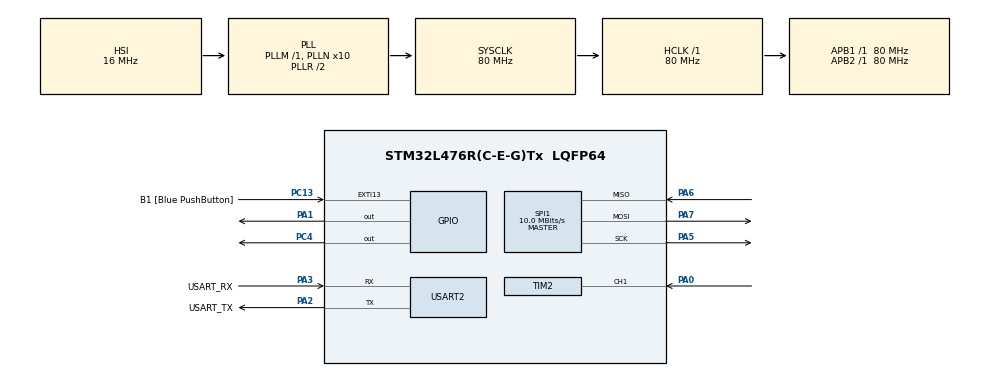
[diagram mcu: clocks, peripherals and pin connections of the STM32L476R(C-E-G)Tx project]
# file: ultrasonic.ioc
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FATFS._MAX_SS=4096
FATFS._USE_LFN=1
Mcu.Family=STM32L4
Mcu.Name=STM32L476R(C-E-G)Tx
Mcu.Package=LQFP64
NVIC.PriorityGroup=NVIC_PRIORITYGROUP_4
NVIC.TIM2_IRQn=true\:0\:0\:false\:false\:true\:true\:true\:true
PA0.Signal=S_TIM2_CH1
PA1.Signal=GPIO_Output
PA13\ (JTMS-SWDIO).GPIO_Label=TMS
PA13\ (JTMS-SWDIO).Mode=Serial_Wire
PA13\ (JTMS-SWDIO).Signal=SYS_JTMS-SWDIO
PA14\ (JTCK-SWCLK).GPIO_Label=TCK
PA14\ (JTCK-SWCLK).Mode=Serial_Wire
PA14\ (JTCK-SWCLK).Signal=SYS_JTCK-SWCLK
PA2.GPIO_Label=USART_TX
PA2.GPIO_Mode=GPIO_MODE_AF_PP
PA2.GPIO_PuPd=GPIO_NOPULL
PA2.GPIO_Speed=GPIO_SPEED_FREQ_VERY_HIGH
PA2.Mode=Asynchronous
PA2.Signal=USART2_TX
PA3.GPIO_Label=USART_RX
PA3.GPIO_Mode=GPIO_MODE_AF_PP
PA3.GPIO_PuPd=GPIO_NOPULL
PA3.GPIO_Speed=GPIO_SPEED_FREQ_VERY_HIGH
PA3.Mode=Asynchronous
PA3.Signal=USART2_RX
PA5.Mode=Full_Duplex_Master
PA5.Signal=SPI1_SCK
PA6.Mode=Full_Duplex_Master
PA6.Signal=SPI1_MISO
PA7.Mode=Full_Duplex_Master
PA7.Signal=SPI1_MOSI
PB3\ (JTDO-TRACESWO).GPIO_Label=SWO
PB3\ (JTDO-TRACESWO).Signal=SYS_JTDO-SWO
PC13.GPIO_Label=B1 [Blue PushButton]
PC13.GPIO_ModeDefaultEXTI=GPIO_MODE_IT_FALLING
PC13.GPIO_PuPd=GPIO_NOPULL
PC13.Signal=GPXTI13
PC14-OSC32_IN\ (PC14).Mode=LSE-External-Oscillator
PC14-OSC32_IN\ (PC14).Signal=RCC_OSC32_IN
PC15-OSC32_OUT\ (PC15).Mode=LSE-External-Oscillator
PC15-OSC32_OUT\ (PC15).Signal=RCC_OSC32_OUT
PC4.Signal=GPIO_Output
PH0-OSC_IN\ (PH0).Signal=RCC_OSC_IN
PH1-OSC_OUT\ (PH1).Signal=RCC_OSC_OUT
ProjectManager.HeapSize=0x200
ProjectManager.StackSize=0x400
ProjectManager.TargetToolchain=STM32CubeIDE
RCC.ADCFreq_Value=64000000
RCC.AHBFreq_Value=80000000
RCC.APB1Freq_Value=80000000
RCC.APB1TimFreq_Value=80000000
RCC.APB2Freq_Value=80000000
RCC.APB2TimFreq_Value=80000000
RCC.CortexFreq_Value=80000000
RCC.HCLKFreq_Value=80000000
RCC.HSE_VALUE=8000000
RCC.HSI_VALUE=16000000
RCC.MSI_VALUE=4000000
RCC.PLLN=10
RCC.PLLSourceVirtual=RCC_PLLSOURCE_HSI
RCC.PREFETCH_ENABLE=1
RCC.SYSCLKFreq_VALUE=80000000
RCC.SYSCLKSource=RCC_SYSCLKSOURCE_PLLCLK
RCC.USBFreq_Value=64000000
RCC.VCOOutputFreq_Value=160000000
SH.S_TIM2_CH1.0=TIM2_CH1,Input_Capture1_from_TI1
SPI1.BaudRatePrescaler=SPI_BAUDRATEPRESCALER_8
SPI1.CalculateBaudRate=10.0 MBits/s
SPI1.DataSize=SPI_DATASIZE_8BIT
SPI1.Direction=SPI_DIRECTION_2LINES
SPI1.Mode=SPI_MODE_MASTER
SPI1.VirtualType=VM_MASTER
TIM2.AutoReloadPreload=TIM_AUTORELOAD_PRELOAD_ENABLE
TIM2.Channel-Input_Capture1_from_TI1=TIM_CHANNEL_1
TIM2.Prescaler=79
USART2.VirtualMode-Asynchronous=VM_ASYNC
VP_FATFS_VS_Generic.Mode=User_defined
VP_RTC_VS_RTC_Activate.Mode=RTC_Enabled
VP_RTC_VS_RTC_Calendar.Mode=RTC_Calendar
board=NUCLEO-L476RG

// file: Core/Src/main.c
/* USER CODE BEGIN Header */
/**
  ******************************************************************************
  * @file           : main.c
  * @brief          : Main program body
  ******************************************************************************
  * @attention
  *
  * Copyright (c) 2025 STMicroelectronics.
  * All rights reserved.
  *
  * This software is licensed under terms that can be found in the LICENSE file
  * in the root directory of this software component.
  * If no LICENSE file comes with this software, it is provided AS-IS.
  *
  ******************************************************************************
  */
/* USER CODE END Header */
#include "main.h"
#include "fatfs.h"
#include<stdio.h>
#include<string.h>
/* USER CODE BEGIN Includes */
uint32_t ic_val1 = 0;
uint32_t ic_val2 = 0;
uint32_t diff = 0;
uint8_t is_first_capture = 0;
float distance_cm = 0;

/* USER CODE END Includes */

RTC_HandleTypeDef hrtc;

SPI_HandleTypeDef hspi1;

TIM_HandleTypeDef htim2;

UART_HandleTypeDef huart2;

/* USER CODE BEGIN PV */
#define THRESHOLD_CM 20.0f

uint8_t object_present = 0;      // Current state
uint8_t object_previous = 0;     // Previous state
char msg[64];
RTC_TimeTypeDef sTime;
RTC_DateTypeDef sDate;
char timestamp[32];

/* USER CODE END PV */

void SystemClock_Config(void);
static void MX_GPIO_Init(void);
static void MX_USART2_UART_Init(void);
static void MX_TIM2_Init(void);
static void MX_RTC_Init(void);
static void MX_SPI1_Init(void);

/* USER CODE BEGIN 0 */
FATFS fs;
FIL fil;
FRESULT fresult;
char buffer[1024];

UINT br,bw;

FATFS *pfs;
DWORD fre_clust;
uint32_t total, free_space;

void send_uart(char *string)
{
	uint8_t len=strlen(string);
	HAL_UART_Transmit(&huart2,(uint8_t*)string,len,2000);
}

int bufsize(char *buf)
{
	int i=0;
	while(*buf++!='\0')
		i++;
	return i;
}
void bufclear(void)
{
	for(int i=0;i<1024;i++)
		buffer[i]='\0';
}
void HCSR04_Trigger(void)
{
  HAL_GPIO_WritePin(GPIOA, GPIO_PIN_1, GPIO_PIN_SET);  // TRIG high
 // HAL_Delay(0);  // Wait few cycles
  for (volatile int i = 0; i < 160; i++);  // ~10 µs at 16 MHz
  HAL_GPIO_WritePin(GPIOA, GPIO_PIN_1, GPIO_PIN_RESET);  // TRIG low
}

void Start_HCSR04(void)
{
  is_first_capture = 0;
  HAL_TIM_IC_Start_IT(&htim2, TIM_CHANNEL_1);
  HCSR04_Trigger();
}

void HAL_TIM_IC_CaptureCallback(TIM_HandleTypeDef *htim)
{
  if (htim->Channel == HAL_TIM_ACTIVE_CHANNEL_1)
  {
    if (is_first_capture == 0)
    {
      ic_val1 = HAL_TIM_ReadCapturedValue(htim, TIM_CHANNEL_1);  // Rising edge
      __HAL_TIM_SET_CAPTUREPOLARITY(htim, TIM_CHANNEL_1, TIM_INPUTCHANNELPOLARITY_FALLING);
      is_first_capture = 1;
    }
    else if (is_first_capture == 1)
    {
      ic_val2 = HAL_TIM_ReadCapturedValue(htim, TIM_CHANNEL_1);  // Falling edge
      __HAL_TIM_SET_CAPTUREPOLARITY(htim, TIM_CHANNEL_1, TIM_INPUTCHANNELPOLARITY_RISING);

      HAL_TIM_IC_Stop_IT(htim, TIM_CHANNEL_1);

      if (ic_val2 > ic_val1)
        diff = ic_val2 - ic_val1;
      else
        diff = (0xFFFF - ic_val1 + ic_val2);

      distance_cm = (float)diff * 0.0343 / 2.0;

    }
  }
}
/* USER CODE END 0 */

int main(void)
{

  /* MCU Configuration--------------------------------------------------------*/

  /* Reset of all peripherals, Initializes the Flash interface and the Systick. */
  HAL_Init();

  /* Configure the system clock */
  SystemClock_Config();

  /* Initialize all configured peripherals */
  MX_GPIO_Init();
  MX_USART2_UART_Init();
  MX_TIM2_Init();
  MX_RTC_Init();
  MX_FATFS_Init();
  MX_SPI1_Init();
  /* USER CODE BEGIN 2 */
  if ((RTC->ISR & RTC_ISR_INITS) == 0)
    {
      printf("RTC not yet initialized. Setting time and date...\r\n");

      sTime.Hours = 18;
      sTime.Minutes = 35;
      sTime.Seconds = 00;
      sTime.DayLightSaving = RTC_DAYLIGHTSAVING_NONE;
      sTime.StoreOperation = RTC_STOREOPERATION_RESET;
      HAL_RTC_SetTime(&hrtc, &sTime, RTC_FORMAT_BIN);

      sDate.WeekDay = RTC_WEEKDAY_FRIDAY;
      sDate.Month = RTC_MONTH_JULY;
      sDate.Date = 29;
      sDate.Year = 25;
      HAL_RTC_SetDate(&hrtc, &sDate, RTC_FORMAT_BIN);
    }
  fresult=f_mount(&fs,"",1);
  HAL_Delay(1000);
  if(fresult!=FR_OK)
	  send_uart("error in mounting SD_CARD\r\n");
  else
	  send_uart("SD_CARD mount success\r\n");

  /*f_getfree("", &fre_clust, &pfs);
  total=(uint32_t)((pfs->n_fatent-2)*pfs->csize*0.5);
  sprintf(buffer,"SD CARD Total Size: |t%lu\r\n",total);
  send_uart(buffer);
  bufclear();
  free_space=(uint32_t)(fre_clust*pfs->csize*0.5);
  sprintf(buffer,"SD CARD Free space: \t%lu\r\n",free_space);
  send_uart(buffer);*/
char text[256];
char text1[256];
  fresult = f_open(&fil, "log.txt", FA_WRITE | FA_CREATE_ALWAYS);
  if (fresult == FR_OK) {
      // File opened or created successfully
      send_uart("File opened successfully.\r\n");
  }
  else {
      // Handle error
      sprintf(text,"Failed to open file. Error code: %d\r\n", fresult);
      send_uart(text);
  }
  f_lseek(&fil, f_size(&fil)); // Move to the end of file
  send_uart("log.txt created\r\n");

  fresult = f_write(&fil, "ULTRASONIC-SENSOR!\r\n", 11, &bw);
  if (fresult == FR_OK) {
      send_uart("Write successful\r\n");
  }
  else {
      sprintf(text1,"Write failed with error: %d\r\n", fresult);
      send_uart(text1);
  }

 /* fresult=f_open(&fil,"log.txt",FA_READ);
  f_gets(buffer,sizeof(buffer),&fil);
  send_uart(buffer);
  f_close(&fil);
  bufclear();*/

  /* USER CODE END 2 */

  /* Infinite loop */
  /* USER CODE BEGIN WHILE */
  while (1)
  {
	  HAL_RTC_GetTime(&hrtc, &sTime, RTC_FORMAT_BIN);
	  HAL_RTC_GetDate(&hrtc, &sDate, RTC_FORMAT_BIN);  // Must be called right after time

	  snprintf(timestamp, sizeof(timestamp), "%02d:%02d:%02d",
	           sTime.Hours, sTime.Minutes, sTime.Seconds);
	      // Wait for echo
	  Start_HCSR04();
	    char buffer[50];
	     snprintf(buffer, sizeof(buffer), "Distance: %.2f cm\r\n", distance_cm);
	   HAL_UART_Transmit(&huart2, (uint8_t*)buffer, strlen(buffer), 2000);
	     HAL_Delay(2000);

	     if (distance_cm < THRESHOLD_CM)
	    	 object_present = 1;
	     else
	    	  object_present = 0;

	    	     if (object_present && !object_previous)
	    	     {
	    	        // HAL_GPIO_WritePin(GPIOA, LD2_Pin, GPIO_PIN_SET);  // Optional LED
	    	         snprintf(msg, sizeof(msg), "IN TIME [%s]: %.2f cm\r\n", timestamp, distance_cm);
	    	         UINT bw;
	    	         fresult=f_write(&fil, msg, strlen(msg), &bw);
	    	         HAL_UART_Transmit(&huart2, (uint8_t*)msg, strlen(msg), HAL_MAX_DELAY);

	    	     }
	    	     else if (!object_present && object_previous)
	    	     {
	    	        // HAL_GPIO_WritePin(GPIOA, LD2_Pin, GPIO_PIN_RESET);  // Optional LED
	    	         snprintf(msg, sizeof(msg), "OUT TIME [%s]: %.2f cm\r\n", timestamp, distance_cm);
	    	         UINT bw;
	    	         fresult=f_write(&fil, msg, strlen(msg), &bw);
	    	         HAL_UART_Transmit(&huart2, (uint8_t*)msg, strlen(msg), HAL_MAX_DELAY);
	    	     }

	    	     object_previous = object_present;

	    HAL_Delay(100);  // Sampling interval

    /* USER CODE END WHILE */

  }
}

void SystemClock_Config(void)
{
  RCC_OscInitTypeDef RCC_OscInitStruct = {0};
  RCC_ClkInitTypeDef RCC_ClkInitStruct = {0};

  /** Configure the main internal regulator output voltage
  */
  if (HAL_PWREx_ControlVoltageScaling(PWR_REGULATOR_VOLTAGE_SCALE1) != HAL_OK)
  {
    Error_Handler();
  }

  /** Initializes the RCC Oscillators according to the specified parameters
  * in the RCC_OscInitTypeDef structure.
  */
  RCC_OscInitStruct.OscillatorType = RCC_OSCILLATORTYPE_HSI|RCC_OSCILLATORTYPE_LSI;
  RCC_OscInitStruct.HSIState = RCC_HSI_ON;
  RCC_OscInitStruct.HSICalibrationValue = RCC_HSICALIBRATION_DEFAULT;
  RCC_OscInitStruct.LSIState = RCC_LSI_ON;
  RCC_OscInitStruct.PLL.PLLState = RCC_PLL_ON;
  RCC_OscInitStruct.PLL.PLLSource = RCC_PLLSOURCE_HSI;
  RCC_OscInitStruct.PLL.PLLM = 1;
  RCC_OscInitStruct.PLL.PLLN = 10;
  RCC_OscInitStruct.PLL.PLLP = RCC_PLLP_DIV7;
  RCC_OscInitStruct.PLL.PLLQ = RCC_PLLQ_DIV2;
  RCC_OscInitStruct.PLL.PLLR = RCC_PLLR_DIV2;
  if (HAL_RCC_OscConfig(&RCC_OscInitStruct) != HAL_OK)
  {
    Error_Handler();
  }

  /** Initializes the CPU, AHB and APB buses clocks
  */
  RCC_ClkInitStruct.ClockType = RCC_CLOCKTYPE_HCLK|RCC_CLOCKTYPE_SYSCLK
                              |RCC_CLOCKTYPE_PCLK1|RCC_CLOCKTYPE_PCLK2;
  RCC_ClkInitStruct.SYSCLKSource = RCC_SYSCLKSOURCE_PLLCLK;
  RCC_ClkInitStruct.AHBCLKDivider = RCC_SYSCLK_DIV1;
  RCC_ClkInitStruct.APB1CLKDivider = RCC_HCLK_DIV1;
  RCC_ClkInitStruct.APB2CLKDivider = RCC_HCLK_DIV1;

  if (HAL_RCC_ClockConfig(&RCC_ClkInitStruct, FLASH_LATENCY_4) != HAL_OK)
  {
    Error_Handler();
  }
}

static void MX_RTC_Init(void)
{

  RTC_TimeTypeDef sTime = {0};
  RTC_DateTypeDef sDate = {0};

  /** Initialize RTC Only
  */
  hrtc.Instance = RTC;
  hrtc.Init.HourFormat = RTC_HOURFORMAT_24;
  hrtc.Init.AsynchPrediv = 127;
  hrtc.Init.SynchPrediv = 255;
  hrtc.Init.OutPut = RTC_OUTPUT_DISABLE;
  hrtc.Init.OutPutRemap = RTC_OUTPUT_REMAP_NONE;
  hrtc.Init.OutPutPolarity = RTC_OUTPUT_POLARITY_HIGH;
  hrtc.Init.OutPutType = RTC_OUTPUT_TYPE_OPENDRAIN;
  if (HAL_RTC_Init(&hrtc) != HAL_OK)
  {
    Error_Handler();
  }

  /** Initialize RTC and set the Time and Date
  */
  sTime.Hours = 0x0;
  sTime.Minutes = 0x0;
  sTime.Seconds = 0x0;
  sTime.DayLightSaving = RTC_DAYLIGHTSAVING_NONE;
  sTime.StoreOperation = RTC_STOREOPERATION_RESET;
  if (HAL_RTC_SetTime(&hrtc, &sTime, RTC_FORMAT_BCD) != HAL_OK)
  {
    Error_Handler();
  }
  sDate.WeekDay = RTC_WEEKDAY_MONDAY;
  sDate.Month = RTC_MONTH_JANUARY;
  sDate.Date = 0x1;
  sDate.Year = 0x0;

  if (HAL_RTC_SetDate(&hrtc, &sDate, RTC_FORMAT_BCD) != HAL_OK)
  {
    Error_Handler();
  }

}

static void MX_SPI1_Init(void)
{

  /* SPI1 parameter configuration*/
  hspi1.Instance = SPI1;
  hspi1.Init.Mode = SPI_MODE_MASTER;
  hspi1.Init.Direction = SPI_DIRECTION_2LINES;
  hspi1.Init.DataSize = SPI_DATASIZE_8BIT;
  hspi1.Init.CLKPolarity = SPI_POLARITY_LOW;
  hspi1.Init.CLKPhase = SPI_PHASE_1EDGE;
  hspi1.Init.NSS = SPI_NSS_SOFT;
  hspi1.Init.BaudRatePrescaler = SPI_BAUDRATEPRESCALER_8;
  hspi1.Init.FirstBit = SPI_FIRSTBIT_MSB;
  hspi1.Init.TIMode = SPI_TIMODE_DISABLE;
  hspi1.Init.CRCCalculation = SPI_CRCCALCULATION_DISABLE;
  hspi1.Init.CRCPolynomial = 7;
  hspi1.Init.CRCLength = SPI_CRC_LENGTH_DATASIZE;
  hspi1.Init.NSSPMode = SPI_NSS_PULSE_ENABLE;
  if (HAL_SPI_Init(&hspi1) != HAL_OK)
  {
    Error_Handler();
  }

}

static void MX_TIM2_Init(void)
{

  TIM_MasterConfigTypeDef sMasterConfig = {0};
  TIM_IC_InitTypeDef sConfigIC = {0};

  htim2.Instance = TIM2;
  htim2.Init.Prescaler = 79;
  htim2.Init.CounterMode = TIM_COUNTERMODE_UP;
  htim2.Init.Period = 4294967295;
  htim2.Init.ClockDivision = TIM_CLOCKDIVISION_DIV1;
  htim2.Init.AutoReloadPreload = TIM_AUTORELOAD_PRELOAD_ENABLE;
  if (HAL_TIM_IC_Init(&htim2) != HAL_OK)
  {
    Error_Handler();
  }
  sMasterConfig.MasterOutputTrigger = TIM_TRGO_RESET;
  sMasterConfig.MasterSlaveMode = TIM_MASTERSLAVEMODE_DISABLE;
  if (HAL_TIMEx_MasterConfigSynchronization(&htim2, &sMasterConfig) != HAL_OK)
  {
    Error_Handler();
  }
  sConfigIC.ICPolarity = TIM_INPUTCHANNELPOLARITY_RISING;
  sConfigIC.ICSelection = TIM_ICSELECTION_DIRECTTI;
  sConfigIC.ICPrescaler = TIM_ICPSC_DIV1;
  sConfigIC.ICFilter = 0;
  if (HAL_TIM_IC_ConfigChannel(&htim2, &sConfigIC, TIM_CHANNEL_1) != HAL_OK)
  {
    Error_Handler();
  }

}

static void MX_USART2_UART_Init(void)
{

  huart2.Instance = USART2;
  huart2.Init.BaudRate = 115200;
  huart2.Init.WordLength = UART_WORDLENGTH_8B;
  huart2.Init.StopBits = UART_STOPBITS_1;
  huart2.Init.Parity = UART_PARITY_NONE;
  huart2.Init.Mode = UART_MODE_TX_RX;
  huart2.Init.HwFlowCtl = UART_HWCONTROL_NONE;
  huart2.Init.OverSampling = UART_OVERSAMPLING_16;
  huart2.Init.OneBitSampling = UART_ONE_BIT_SAMPLE_DISABLE;
  huart2.AdvancedInit.AdvFeatureInit = UART_ADVFEATURE_NO_INIT;
  if (HAL_UART_Init(&huart2) != HAL_OK)
  {
    Error_Handler();
  }

}

static void MX_GPIO_Init(void)
{
  GPIO_InitTypeDef GPIO_InitStruct = {0};

  /* GPIO Ports Clock Enable */
  __HAL_RCC_GPIOC_CLK_ENABLE();
  __HAL_RCC_GPIOH_CLK_ENABLE();
  __HAL_RCC_GPIOA_CLK_ENABLE();
  __HAL_RCC_GPIOB_CLK_ENABLE();

  /*Configure GPIO pin Output Level */
  HAL_GPIO_WritePin(GPIOA, GPIO_PIN_1, GPIO_PIN_RESET);

  /*Configure GPIO pin Output Level */
  HAL_GPIO_WritePin(GPIOC, GPIO_PIN_4, GPIO_PIN_RESET);

  /*Configure GPIO pin : B1_Pin */
  GPIO_InitStruct.Pin = B1_Pin;
  GPIO_InitStruct.Mode = GPIO_MODE_IT_FALLING;
  GPIO_InitStruct.Pull = GPIO_NOPULL;
  HAL_GPIO_Init(B1_GPIO_Port, &GPIO_InitStruct);

  /*Configure GPIO pin : PA1 */
  GPIO_InitStruct.Pin = GPIO_PIN_1;
  GPIO_InitStruct.Mode = GPIO_MODE_OUTPUT_PP;
  GPIO_InitStruct.Pull = GPIO_NOPULL;
  GPIO_InitStruct.Speed = GPIO_SPEED_FREQ_LOW;
  HAL_GPIO_Init(GPIOA, &GPIO_InitStruct);

  /*Configure GPIO pin : PC4 */
  GPIO_InitStruct.Pin = GPIO_PIN_4;
  GPIO_InitStruct.Mode = GPIO_MODE_OUTPUT_PP;
  GPIO_InitStruct.Pull = GPIO_NOPULL;
  GPIO_InitStruct.Speed = GPIO_SPEED_FREQ_LOW;
  HAL_GPIO_Init(GPIOC, &GPIO_InitStruct);

}

void Error_Handler(void)
{
  __disable_irq();
  while (1)
  {
  }
}
